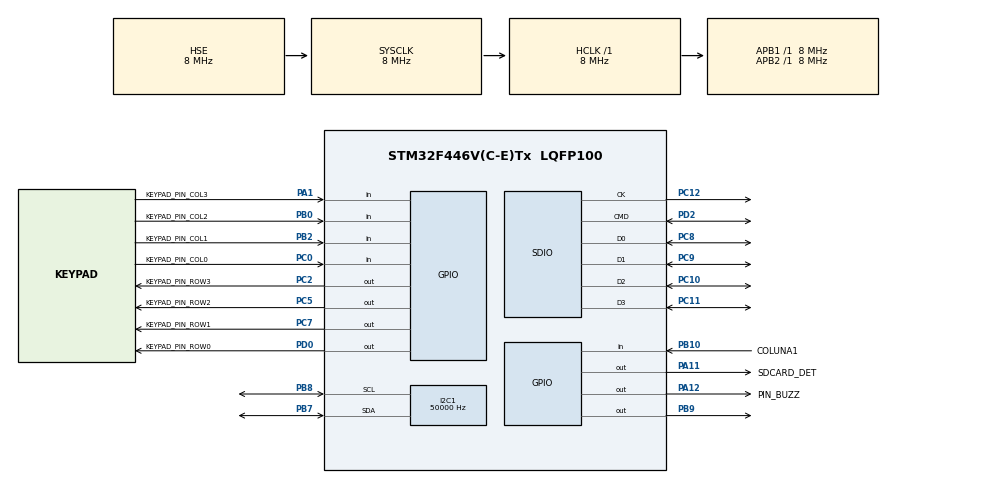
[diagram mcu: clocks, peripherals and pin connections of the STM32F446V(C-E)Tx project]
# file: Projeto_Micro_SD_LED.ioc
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I2C1.ClockSpeed=50000
Mcu.Family=STM32F4
Mcu.Name=STM32F446V(C-E)Tx
Mcu.Package=LQFP100
NVIC.PriorityGroup=NVIC_PRIORITYGROUP_4
NVIC.TIM8_UP_TIM13_IRQn=true\:0\:0\:false\:false\:true
PA1.GPIO_Label=KEYPAD_PIN_COL3
PA1.GPIO_PuPd=GPIO_PULLDOWN
PA1.Signal=GPIO_Input
PA11.GPIO_Label=SDCARD_DET
PA11.GPIO_PuPd=GPIO_NOPULL
PA11.GPIO_Speed=GPIO_SPEED_FREQ_LOW
PA11.Signal=GPIO_Output
PA12.GPIO_Label=PIN_BUZZ
PA12.Signal=GPIO_Output
PB0.GPIO_Label=KEYPAD_PIN_COL2
PB0.GPIO_PuPd=GPIO_PULLDOWN
PB0.Signal=GPIO_Input
PB10.GPIO_Label=COLUNA1
PB10.GPIO_PuPd=GPIO_PULLDOWN
PB10.Signal=GPIO_Input
PB2.GPIO_Label=KEYPAD_PIN_COL1
PB2.GPIO_PuPd=GPIO_PULLDOWN
PB2.Signal=GPIO_Input
PB7.Mode=I2C
PB7.Signal=I2C1_SDA
PB8.Mode=I2C
PB8.Signal=I2C1_SCL
PB9.Signal=GPIO_Output
PC0.GPIO_Label=KEYPAD_PIN_COL0
PC0.GPIO_PuPd=GPIO_PULLDOWN
PC0.Signal=GPIO_Input
PC10.Mode=SD_4_bits_Wide_bus
PC10.Signal=SDIO_D2
PC11.Mode=SD_4_bits_Wide_bus
PC11.Signal=SDIO_D3
PC12.Mode=SD_4_bits_Wide_bus
PC12.Signal=SDIO_CK
PC2.GPIO_Label=KEYPAD_PIN_ROW3
PC2.GPIO_PuPd=GPIO_PULLUP
PC2.PinState=GPIO_PIN_SET
PC2.Signal=GPIO_Output
PC5.GPIO_Label=KEYPAD_PIN_ROW2
PC5.GPIO_PuPd=GPIO_PULLUP
PC5.PinState=GPIO_PIN_SET
PC5.Signal=GPIO_Output
PC7.GPIO_Label=KEYPAD_PIN_ROW1
PC7.GPIO_PuPd=GPIO_PULLUP
PC7.PinState=GPIO_PIN_SET
PC7.Signal=GPIO_Output
PC8.Mode=SD_4_bits_Wide_bus
PC8.Signal=SDIO_D0
PC9.Mode=SD_4_bits_Wide_bus
PC9.Signal=SDIO_D1
PD0.GPIO_Label=KEYPAD_PIN_ROW0
PD0.GPIO_PuPd=GPIO_PULLUP
PD0.PinState=GPIO_PIN_SET
PD0.Signal=GPIO_Output
PD2.Mode=SD_4_bits_Wide_bus
PD2.Signal=SDIO_CMD
PH0-OSC_IN.Mode=HSE-External-Oscillator
PH0-OSC_IN.Signal=RCC_OSC_IN
PH1-OSC_OUT.Mode=HSE-External-Oscillator
PH1-OSC_OUT.Signal=RCC_OSC_OUT
ProjectManager.HeapSize=0x200
ProjectManager.StackSize=0x400
ProjectManager.TargetToolchain=TrueSTUDIO
RCC.AHBFreq_Value=8000000
RCC.APB1Freq_Value=8000000
RCC.APB1TimFreq_Value=8000000
RCC.APB2Freq_Value=8000000
RCC.APB2TimFreq_Value=8000000
RCC.CortexFreq_Value=8000000
RCC.HCLKFreq_Value=8000000
RCC.HSE_VALUE=8000000
RCC.PLLM=8
RCC.PLLN=336
RCC.PLLQ=7
RCC.PLLSourceVirtual=RCC_PLLSOURCE_HSE
RCC.SYSCLKFreq_VALUE=8000000
RCC.SYSCLKSource=RCC_SYSCLKSOURCE_HSE
RCC.USBFreq_Value=48000000
RCC.VCOOutputFreq_Value=336000000
SDIO.BusWide=SDIO_BUS_WIDE_1B
SDIO.ClockDiv=125
SDIO.WideMode=SDIO_BUS_WIDE_4B
TIM13.Period=10
TIM13.Prescaler=1000
VP_FATFS_VS_SDIO.Mode=SDIO
VP_TIM13_VS_ClockSourceINT.Mode=Enable_Timer
board=Projeto_Micro_SD_LED

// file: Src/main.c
/**
  ******************************************************************************
  * File Name          : main.c
  * Description        : Main program body
  ******************************************************************************
  *
  * COPYRIGHT(c) 2017 STMicroelectronics
  *
  * Redistribution and use in source and binary forms, with or without modification,
  * are permitted provided that the following conditions are met:
  *   1. Redistributions of source code must retain the above copyright notice,
  *      this list of conditions and the following disclaimer.
  *   2. Redistributions in binary form must reproduce the above copyright notice,
  *      this list of conditions and the following disclaimer in the documentation
  *      and/or other materials provided with the distribution.
  *   3. Neither the name of STMicroelectronics nor the names of its contributors
  *      may be used to endorse or promote products derived from this software
  *      without specific prior written permission.
  *
  * THIS SOFTWARE IS PROVIDED BY THE COPYRIGHT HOLDERS AND CONTRIBUTORS "AS IS"
  * AND ANY EXPRESS OR IMPLIED WARRANTIES, INCLUDING, BUT NOT LIMITED TO, THE
  * IMPLIED WARRANTIES OF MERCHANTABILITY AND FITNESS FOR A PARTICULAR PURPOSE ARE
  * DISCLAIMED. IN NO EVENT SHALL THE COPYRIGHT HOLDER OR CONTRIBUTORS BE LIABLE
  * FOR ANY DIRECT, INDIRECT, INCIDENTAL, SPECIAL, EXEMPLARY, OR CONSEQUENTIAL
  * DAMAGES (INCLUDING, BUT NOT LIMITED TO, PROCUREMENT OF SUBSTITUTE GOODS OR
  * SERVICES; LOSS OF USE, DATA, OR PROFITS; OR BUSINESS INTERRUPTION) HOWEVER
  * CAUSED AND ON ANY THEORY OF LIABILITY, WHETHER IN CONTRACT, STRICT LIABILITY,
  * OR TORT (INCLUDING NEGLIGENCE OR OTHERWISE) ARISING IN ANY WAY OUT OF THE USE
  * OF THIS SOFTWARE, EVEN IF ADVISED OF THE POSSIBILITY OF SUCH DAMAGE.
  *
  ******************************************************************************
  */
#include "stm32f4xx_hal.h"
#include "fatfs.h"
#include "i2c.h"
#include "sdio.h"
#include "tim.h"
#include "gpio.h"

/* USER CODE BEGIN Includes */
#include "display.h"
#include "string.h"
#include "my_string.h"
#include "auth.h"

typedef enum {
	ST_STARTUP = 0,			/* (0) Inicialização do sistema */
	ST_EXCECUTION,			/* (1) Sistema em execução */
	ST_LOGIN,				/* (2) Realizando Login */
	ST_REGISTER,			/* (3) Realizando Cadastro */
	ST_DELETE,				/* (4) Deletando Cadastro */
} STATE;

/* USER CODE END Includes */

/* USER CODE BEGIN PV */
/* Private variables ---------------------------------------------------------*/

/* USER CODE END PV */

void SystemClock_Config(void);
void Error_Handler(void);

/* USER CODE BEGIN PFP */
/* Private function prototypes -----------------------------------------------*/

/* USER CODE END PFP */

int main(void)
{

  /* USER CODE BEGIN 1 */
	char *key;
	char login[9]; char pass[9]; char aux[9]; char loginpass[9];
	FRESULT res; /*Fatfs function common result code*/
	uint32_t byteswritten, bytesread; /* File write/read counts */
	FATFS SDFatFs;
	FIL MyFile;
	char rtext[256]; /* File read buffer */
	uint_fast32_t length = 0;
	STATE state = ST_STARTUP;
	login[0] = '\0';
	pass[0] = '\0';

  /* USER CODE END 1 */

  /* MCU Configuration----------------------------------------------------------*/

  /* Reset of all peripherals, Initializes the Flash interface and the Systick. */
  HAL_Init();

  /* Configure the system clock */
  SystemClock_Config();

  /* Initialize all configured peripherals */
  MX_GPIO_Init();
  MX_SDIO_SD_Init();
  MX_FATFS_Init();
  MX_I2C1_Init();
  MX_TIM13_Init();

  /* USER CODE BEGIN 2 */
  initDisplay();
  if(retSD == 0) {
	  	  clearDisplay();
	      printDisplay("SD Encontrado");
	      HAL_Delay(1000);
	      //Monta SD
          if(f_mount(&SDFatFs, (TCHAR const*)SD_Path, 0) != FR_OK) {
        	  clearDisplay();
        	  printDisplay("Erro Inicializacao FAT");
        	  while(1);
          }
          clearDisplay();
          printDisplay("SD Montado");
          HAL_Delay(1000);
  } else {
	  clearDisplay();
	  printDisplay("NADA ENCONTRADO!");
	  while(1);
  }

  clearDisplay();
  printMenuInstalacao();
  /* USER CODE END 2 */

  /* Infinite loop */
  /* USER CODE BEGIN WHILE */
  while (1)
  {
	  key = readKeyBoard();

      //Iniciar a aplicação a partir de uma base existente
	  if(key == "A" && state == ST_STARTUP) {
		  clearDisplay();
		  printDisplay("Carregando Base...");
		  HAL_Delay(1000);
		  if(f_open(&MyFile, "database.txt", FA_READ ) != FR_OK) {
			  clearDisplay();
			  printDisplay("Base Inexistente!   ");
			  printDisplay("Crie uma base");
			  HAL_Delay(2000);
			  clearDisplay();
			  printMenuInstalacao();
			  key = " ";
			  continue;
		  } else {
			  clearDisplay();
			  printDisplay("Base Localizada!");
			  //Exibe menu da aplicação
			  HAL_Delay(2000);
			  clearDisplay();
			  printMenu();
			  key = " ";
			  state = ST_EXCECUTION;
			  f_close(&MyFile);
			  continue;
		  }
	  }

	  //Formata o Sd e cria uma nova base de dados
	  if(key == "B" && state == ST_STARTUP) {
		  clearDisplay();
		  printDisplay("Criando Novo...");
		  HAL_Delay(1000);
		  //Formata SD
		  if(f_mkfs((TCHAR const*)SD_Path, 0, 0) != FR_OK) {
			  clearDisplay();
			  printDisplay("Erro Formatacao");
			  HAL_Delay(2000);
			  clearDisplay();
			  printMenuInstalacao();
			  key = " ";
			  continue;
		  }
		  //Abre arquivo para escrita
		  if(f_open(&MyFile, "database.txt", FA_CREATE_ALWAYS | FA_WRITE) != FR_OK) {
			  clearDisplay();
			  printDisplay("Erro abrir arq");
			  HAL_Delay(2000);
			  clearDisplay();
			  printMenuInstalacao();
			  key = " ";
			  continue;
		  }

		  //Mensagem de confimação de formatação
	      clearDisplay();
	      printDisplay("Instalacao Concluida!");
	      //Exibe menu da aplicação
	      HAL_Delay(2000);
	      clearDisplay();
	      printMenu();
	      key = " ";
	      state = ST_EXCECUTION;
	      f_close(&MyFile);
	      continue;
	  }

	  //Autentica o usuário
	  if(key == "1" && state == ST_EXCECUTION) {
		  state = ST_LOGIN;
		  clearDisplay();
		  printDisplay("Login:");
		  key = " ";
		  login[0] = '\0';
		  pass[0] = '\0';
		  loginpass[0] = '\0';
		  while(state == ST_LOGIN) {
			  HAL_Delay(500);
			  do{
				  key = readKeyBoard();
				  HAL_Delay(200);
				  if(key != "E") {
					  strcat(login,key);
					  clearDisplay();
					  printDisplay("Login:");
					  printDisplay(login);
				  }
			  } while(strlen(login) < 4);
			  HAL_Delay(500);
			  clearDisplay();
			  printDisplay("Senha:");
			  do{
				  key = readKeyBoard();
				  HAL_Delay(200);
				  if(key != "E") {
					  strcat(pass,key);
					  printDisplay("*");
				  }
			  } while(strlen(pass) < 4);
			  strcat(loginpass,login);
			  strcat(loginpass,pass);
			  HAL_Delay(1000);
			  char line[9]; char* res;
			  if(f_open(&MyFile, "database.txt", FA_READ) == FR_OK) {
				  while (f_gets(line, sizeof line, &MyFile)) {
					  if(strcmp(line,loginpass) == 0) {
						  res = "Autenticado!";
						  break;
					  } else {
						  res = "Inexistente!";
						  continue;
					  }
				  }
				  clearDisplay();
				  printDisplay(res);
				  if(res == "Inexistente!") {
					  HAL_TIM_Base_Start_IT(&htim13);
					  HAL_Delay(1000);
					  HAL_TIM_Base_Stop_IT(&htim13);
				  }else {
					  HAL_Delay(1000);
				  }
				  state = ST_EXCECUTION;
			  } else {
				  clearDisplay();
				  printDisplay("Arq N Econtrado");
				  HAL_Delay(1000);
			  }
			  f_close(&MyFile);
		  }
		  clearDisplay();
		  printMenu();
		  key = " ";
		  continue;
	  }

	  //Cadastra o usuário
	  if(key == "4" && state == ST_EXCECUTION) {
		  state = ST_REGISTER;
		  clearDisplay();
		  printDisplay("Login:");
		  key = " ";
		  login[0] = '\0';
		  pass[0] = '\0';
		  while(state == ST_REGISTER) {
			  HAL_Delay(500);
			  do{
				  key = readKeyBoard();
				  HAL_Delay(200);
				  if(key != "E") {
					  strcat(login,key);
					  clearDisplay();
					  printDisplay("Login:");
					  printDisplay(login);
				  }

			  } while(strlen(login) < 4);
			  HAL_Delay(500);
			  clearDisplay();
			  printDisplay("Senha:");
			  do{
				  key = readKeyBoard();
				  HAL_Delay(200);
				  if(key != "E") {
					  strcat(pass,key);
					  printDisplay("*");
				  }

			  } while(strlen(pass) < 4);
			  HAL_Delay(1000);
			  if(regist(&MyFile,login,pass) == AU_REGISTERED) {
				  clearDisplay();
				  printDisplay("Cadastrado");
				  HAL_Delay(1000);
				  state = ST_EXCECUTION;
			  } else {
				  clearDisplay();
				  printDisplay("Nao Cadastrado!");
				  HAL_Delay(1000);
				  state = ST_EXCECUTION;
			  }
		  }
		  clearDisplay();
		  printMenu();
		  key = " ";
		  continue;
	  }

	  //TODO: implementar função de deletar registro
	  /*if(key == "7" && state == ST_EXCECUTION) {
		  state = ST_DELETE;
		  clearDisplay();
		  printDisplay("Login:");
		  key = " ";
		  login[0] = '\0';
		  pass[0] = '\0';
		  loginpass[0] = '\0';
		  while(state == ST_DELETE) {
			  HAL_Delay(500);
			  do{
				  key = readKeyBoard();
				  HAL_Delay(200);
				  if(key != "E") {
					  strcat(login,key);
					  clearDisplay();
					  printDisplay("Login:");
					  printDisplay(login);
				  }
			  } while(strlen(login) < 4);
			  HAL_Delay(500);
			  clearDisplay();
			  printDisplay("Senha:");
			  do{
				  key = readKeyBoard();
				  HAL_Delay(200);
				  if(key != "E") {
					  strcat(pass,key);
					  printDisplay("*");
				  }
			  } while(strlen(pass) < 4);
			  strcat(loginpass,login);
			  strcat(loginpass,pass);
			  HAL_Delay(1000);
			  char line[9]; char* res;
			  if(f_open(&MyFile, "database.txt", FA_READ) == FR_OK) {
				  while (f_gets(line, sizeof line, &MyFile)) {
					  if(strcmp(line,loginpass) == 0) {
						  res = "Autenticado!";
						  break;
					  } else {
						  res = "Inexistente!";
						  continue;
					  }
				  }
				  clearDisplay();
				  printDisplay(res);
				  HAL_Delay(1000);
				  state = ST_EXCECUTION;
			  } else {
				  clearDisplay();
				  printDisplay("Arq N Econtrado");
				  HAL_Delay(1000);
			  }
			  f_close(&MyFile);
		  }
		  clearDisplay();
		  printMenu();
		  key = " ";
		  continue;
	  }*/

	  if(key != " " && key != "E" && key != "A" && key != "B" && state == ST_STARTUP) {
		  clearDisplay();
		  printDisplay("Funcao Indisponivel");
		  HAL_Delay(2000);
		  clearDisplay();
		  printMenuInstalacao();
		  key = " ";
		  continue;
	  }

	  if(key != " " && key != "E" && key != "1" && key != "4" && state == ST_EXCECUTION) {
		  clearDisplay();
		  printDisplay("Funcao Indisponivel");
		  HAL_Delay(2000);
		  clearDisplay();
		  printMenu();
		  key = " ";
		  continue;
	  }
	  key = " ";

  /* USER CODE END WHILE */

  }

}

/** System Clock Configuration
*/
void SystemClock_Config(void)
{

  RCC_OscInitTypeDef RCC_OscInitStruct;
  RCC_ClkInitTypeDef RCC_ClkInitStruct;
  RCC_PeriphCLKInitTypeDef PeriphClkInitStruct;

  __HAL_RCC_PWR_CLK_ENABLE();

  __HAL_PWR_VOLTAGESCALING_CONFIG(PWR_REGULATOR_VOLTAGE_SCALE3);

  RCC_OscInitStruct.OscillatorType = RCC_OSCILLATORTYPE_HSE;
  RCC_OscInitStruct.HSEState = RCC_HSE_ON;
  RCC_OscInitStruct.PLL.PLLState = RCC_PLL_ON;
  RCC_OscInitStruct.PLL.PLLSource = RCC_PLLSOURCE_HSE;
  RCC_OscInitStruct.PLL.PLLM = 8;
  RCC_OscInitStruct.PLL.PLLN = 336;
  RCC_OscInitStruct.PLL.PLLP = RCC_PLLP_DIV2;
  RCC_OscInitStruct.PLL.PLLQ = 7;
  RCC_OscInitStruct.PLL.PLLR = 2;
  if (HAL_RCC_OscConfig(&RCC_OscInitStruct) != HAL_OK)
  {
    Error_Handler();
  }

  RCC_ClkInitStruct.ClockType = RCC_CLOCKTYPE_HCLK|RCC_CLOCKTYPE_SYSCLK
                              |RCC_CLOCKTYPE_PCLK1|RCC_CLOCKTYPE_PCLK2;
  RCC_ClkInitStruct.SYSCLKSource = RCC_SYSCLKSOURCE_HSE;
  RCC_ClkInitStruct.AHBCLKDivider = RCC_SYSCLK_DIV1;
  RCC_ClkInitStruct.APB1CLKDivider = RCC_HCLK_DIV1;
  RCC_ClkInitStruct.APB2CLKDivider = RCC_HCLK_DIV1;
  if (HAL_RCC_ClockConfig(&RCC_ClkInitStruct, FLASH_LATENCY_0) != HAL_OK)
  {
    Error_Handler();
  }

  PeriphClkInitStruct.PeriphClockSelection = RCC_PERIPHCLK_SDIO|RCC_PERIPHCLK_CLK48;
  PeriphClkInitStruct.Clk48ClockSelection = RCC_CLK48CLKSOURCE_PLLQ;
  PeriphClkInitStruct.SdioClockSelection = RCC_SDIOCLKSOURCE_CLK48;
  if (HAL_RCCEx_PeriphCLKConfig(&PeriphClkInitStruct) != HAL_OK)
  {
    Error_Handler();
  }

  HAL_SYSTICK_Config(HAL_RCC_GetHCLKFreq()/1000);

  HAL_SYSTICK_CLKSourceConfig(SYSTICK_CLKSOURCE_HCLK);

  /* SysTick_IRQn interrupt configuration */
  HAL_NVIC_SetPriority(SysTick_IRQn, 0, 0);
}

/* USER CODE BEGIN 4 */
void HAL_TIM_PeriodElapsedCallback(TIM_HandleTypeDef *htim) {
	if (htim == &htim13) {
		HAL_GPIO_TogglePin(GPIOA, GPIO_PIN_12);
	}
}
/* USER CODE END 4 */

void Error_Handler(void)
{
  while(1)
  {
  }
}

/************************ (C) COPYRIGHT STMicroelectronics *****END OF FILE****/
